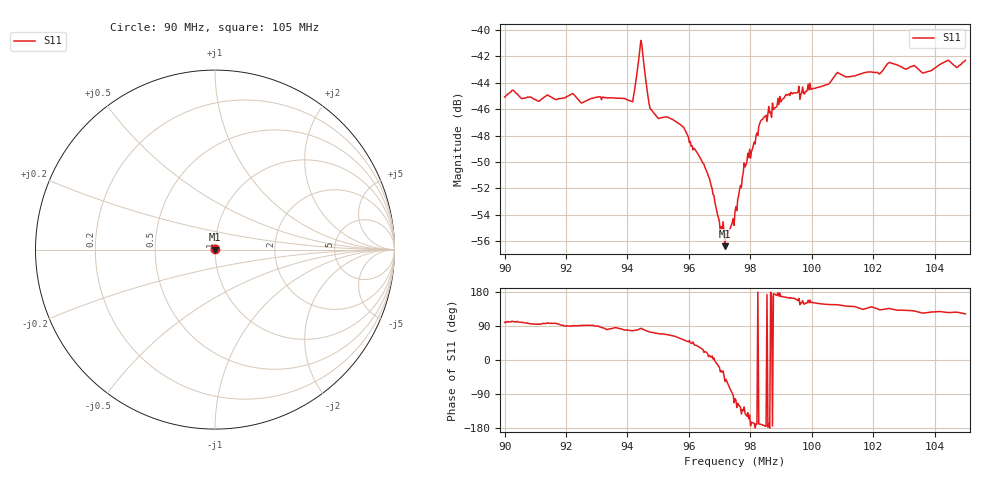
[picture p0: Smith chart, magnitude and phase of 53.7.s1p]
# HZ S RI R 50
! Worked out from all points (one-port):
!   505 points, 90 MHz to 105 MHz, reference 50 ohm
!   lowest |S11| = -56.4 dB at 97.17 MHz (marker M1), VSWR 1.00, Z = 50.1 - j0.127 ohm
!   |S11| at or under -10 dB: start of sweep to end of sweep
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9e7  -0.00089 0.0055
9.026786e7  -0.00116 0.0058
9.107143e7  -0.000405 0.00538
9.187501e7  -0.000143 0.00551
9.375001e7  0.000699 0.00547
9.416668e7  0.00119 0.00521
9.443454e7  0.00105 0.00906
9.449406e7  0.00121 0.00809
9.467263e7  0.00141 0.00537
9.476192e7  0.00144 0.0048
9.500002e7  0.00162 0.00433
9.562502e7  0.00223 0.00386
9.654764e7  0.00277 0.00108
9.699407e7  0.00177 -0.000631
9.717264e7  0.000839 -0.00127
9.723217e7  0.000939 -0.0014
9.750002e7  -0.00043 -0.00201
9.785717e7  -0.00252 -0.00179
9.833336e7  -0.00444 -0.000809
9.937503e7  -0.00547 0.00172
1.00506e8  -0.0052 0.00341
1.008334e8  -0.00571 0.00387
1.0125e8  -0.00522 0.00413
1.022322e8  -0.00464 0.00506
1.025298e8  -0.00542 0.00524
1.03125e8  -0.00466 0.00543
1.036608e8  -0.00386 0.0057
1.05e8  -0.00403 0.00653
